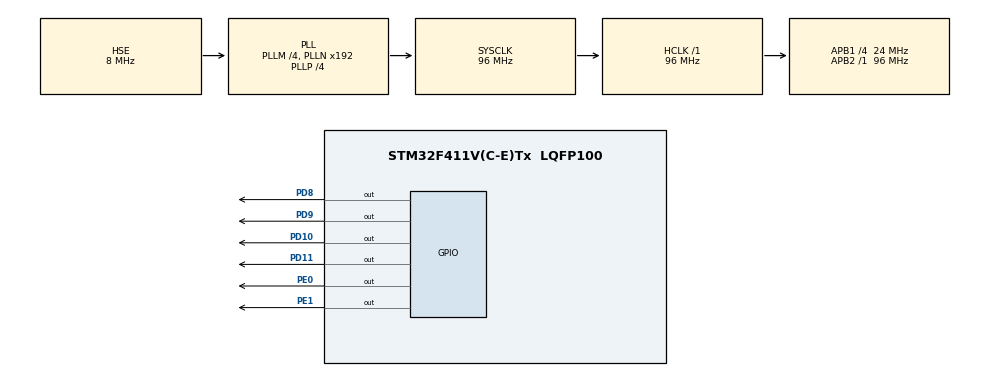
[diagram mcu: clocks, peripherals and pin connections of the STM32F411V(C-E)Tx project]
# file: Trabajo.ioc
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Mcu.Family=STM32F4
Mcu.Name=STM32F411V(C-E)Tx
Mcu.Package=LQFP100
NVIC.PriorityGroup=NVIC_PRIORITYGROUP_0
PD10.Signal=GPIO_Output
PD11.Signal=GPIO_Output
PD8.Signal=GPIO_Output
PD9.Signal=GPIO_Output
PE0.Signal=GPIO_Output
PE1.Signal=GPIO_Output
ProjectManager.HeapSize=0x200
ProjectManager.StackSize=0x400
ProjectManager.TargetToolchain=STM32CubeIDE
RCC.48MHZClocksFreq_Value=48000000
RCC.AHBFreq_Value=96000000
RCC.APB1CLKDivider=RCC_HCLK_DIV4
RCC.APB1Freq_Value=24000000
RCC.APB1TimFreq_Value=48000000
RCC.APB2Freq_Value=96000000
RCC.APB2TimFreq_Value=96000000
RCC.CortexFreq_Value=96000000
RCC.HCLKFreq_Value=96000000
RCC.HSE_VALUE=8000000
RCC.HSI_VALUE=16000000
RCC.LSE_VALUE=32768
RCC.PLLI2SM=5
RCC.PLLI2SN=200
RCC.PLLM=4
RCC.PLLP=RCC_PLLP_DIV4
RCC.PLLQ=8
RCC.PLLSourceVirtual=RCC_PLLSOURCE_HSE
RCC.SYSCLKFreq_VALUE=96000000
RCC.SYSCLKSource=RCC_SYSCLKSOURCE_PLLCLK
RCC.VCOOutputFreq_Value=384000000
board=STM32F411E-DISCO

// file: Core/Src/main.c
/* USER CODE BEGIN Header */
/**
  ******************************************************************************
  * @file           : main.c
  * @brief          : Main program body
  ******************************************************************************
  * @attention
  *
  * <h2><center>&copy; Copyright (c) 2021 STMicroelectronics.
  * All rights reserved.</center></h2>
  *
  * This software component is licensed by ST under Ultimate Liberty license
  * SLA0044, the "License"; You may not use this file except in compliance with
  * the License. You may obtain a copy of the License at:
  *                             www.st.com/SLA0044
  *
  ******************************************************************************
  */
/* USER CODE END Header */
#include "main.h"

/* USER CODE BEGIN Includes */
#include "STM_MY_LCD16X2.h"
/* USER CODE END Includes */

/* USER CODE BEGIN PD */
#define MAX_SELECT 4;
/* USER CODE END PD */

void SystemClock_Config(void);
static void MX_GPIO_Init(void);

int main(void)
{

  /* MCU Configuration--------------------------------------------------------*/

  /* Reset of all peripherals, Initializes the Flash interface and the Systick. */
  HAL_Init();

  /* Configure the system clock */
  SystemClock_Config();

  /* Initialize all configured peripherals */
  MX_GPIO_Init();
  /* USER CODE BEGIN 2 */

  //Inicializar LCD

  LCD1602_Begin4BIT(RS_DISPLAY_GPIO_Port, RS_DISPLAY_Pin, E_DISPLAY_Pin, D4_DISPLAY_GPIO_Port, D4_DISPLAY_Pin, D5_DISPLAY_Pin, D6_DISPLAY_Pin, D7_DISPLAY_Pin);
  LCD1602_clear();

  //Variables

  int mode=0;
  int selection=0;

  int enter=0;
  int back=0;
  int action=0;

  /* USER CODE END 2 */

  /* Infinite loop */
  while (1)
  {

    /* USER CODE BEGIN 3 */

	  if(mode==0) //Selection mode
	  {
		  if(selection==0)
		  {
			  LCD1602_1stLine();
			  LCD1602_print("SELECCIONE ");
			  LCD1602_2ndLine();
			  LCD1602_print("MODO -> ");
		  }
		  else if(selection==1)//Manual mode
		  {

			  LCD1602_1stLine();
			  LCD1602_print("MODO 1");
			  LCD1602_2ndLine();
			  LCD1602_print("<- MANUAL ->");
			  	  if(enter==1) //Press enter to manual mode on
			  	  {
			  		  LCD1602_clear();
			  		  enter=0;
			  		  mode=1;
			  	  }
		  }
		  else if(selection==2) //Light mode
		  {

			  LCD1602_1stLine();
			  LCD1602_print("MODO 2");
			  LCD1602_2ndLine();
			  LCD1602_print("<- DIA/NOCHE ->");
			  	  if(enter==1)
			  	  {
		  				LCD1602_clear();
		  				enter=0;
		  				mode=2;
		  			}
		  	}
		  	else if(selection==3) //Movement mode
		  	{
		  		LCD1602_1stLine();
		  		LCD1602_print("MODO 3");
		  		LCD1602_2ndLine();
		  		LCD1602_print("<- MOVIMIENTO ->");

		  		if(enter==1)
		  		{
		  			LCD1602_clear();
		  			enter=0;
		  			mode=3;
		  		}
		  	}
		  	else if(selection==4) //Brightness regulation
		  	{
		  		LCD1602_1stLine();
		  		LCD1602_print("MODO 4");
				LCD1602_2ndLine();
				LCD1602_print("<- PWM BRILLO");

				if(enter==1)
				{
		  			LCD1602_clear();
					enter=0;
					mode=4;
				}
		  	}
	  }
	  else if(mode==1) //Manual mode
	  {
	  		LCD1602_1stLine();
	  		LCD1602_print("MODO 1 ON");
	  		LCD1602_2ndLine();
	  		LCD1602_print("MANUAL");

	  		if(back==1) //Press back to selection mode on
	  		{
	  			LCD1602_clear();
	  			back=0;
	  			mode=0;
	  		}
	 }
	 else if(mode==2) //Light mode
	 {
		  LCD1602_1stLine();
		  LCD1602_print("MODO 2 ON");
		  LCD1602_2ndLine();
		  LCD1602_print("DIA/NOCHE");

		  //ADC

		  if(back==1)
		  {
			  LCD1602_clear();
			  back=0;
			  mode=0;
		  }
	  }

	  else if(mode==3) //Movement mode
	  {
	  		LCD1602_1stLine();
	  		LCD1602_print("MODO 3 ON");
	  		LCD1602_2ndLine();
	  		LCD1602_print("MOVIMIENTO");

	  		//Ultrasound

	  		if(back==1)
	  		{
	  			LCD1602_clear();
	  			back=0;
	  			modE=0;
	  		}
	  	}

	  	else if (mode==4) //Brightness regulation
	  	{
	  		LCD1602_1stLine();
	  		LCD1602_print("MODO 4 ON");
	  		LCD1602_2ndLine();
	  		LCD1602_print("BRILLO");

	  		//PWM

	  		if(back==1)
	  		{
	  			LCD1602_clear();
	  			back=0;
	  			mode=0;
	  		}
	  	}

  }
  /* USER CODE END 3 */
}

void SystemClock_Config(void)
{
  RCC_OscInitTypeDef RCC_OscInitStruct = {0};
  RCC_ClkInitTypeDef RCC_ClkInitStruct = {0};

  /** Configure the main internal regulator output voltage
  */
  __HAL_RCC_PWR_CLK_ENABLE();
  __HAL_PWR_VOLTAGESCALING_CONFIG(PWR_REGULATOR_VOLTAGE_SCALE1);
  /** Initializes the RCC Oscillators according to the specified parameters
  * in the RCC_OscInitTypeDef structure.
  */
  RCC_OscInitStruct.OscillatorType = RCC_OSCILLATORTYPE_HSE;
  RCC_OscInitStruct.HSEState = RCC_HSE_OFF;
  RCC_OscInitStruct.PLL.PLLState = RCC_PLL_ON;
  RCC_OscInitStruct.PLL.PLLSource = RCC_PLLSOURCE_HSE;
  RCC_OscInitStruct.PLL.PLLM = 4;
  RCC_OscInitStruct.PLL.PLLN = 192;
  RCC_OscInitStruct.PLL.PLLP = RCC_PLLP_DIV4;
  RCC_OscInitStruct.PLL.PLLQ = 8;
  if (HAL_RCC_OscConfig(&RCC_OscInitStruct) != HAL_OK)
  {
    Error_Handler();
  }
  /** Initializes the CPU, AHB and APB buses clocks
  */
  RCC_ClkInitStruct.ClockType = RCC_CLOCKTYPE_HCLK|RCC_CLOCKTYPE_SYSCLK
                              |RCC_CLOCKTYPE_PCLK1|RCC_CLOCKTYPE_PCLK2;
  RCC_ClkInitStruct.SYSCLKSource = RCC_SYSCLKSOURCE_PLLCLK;
  RCC_ClkInitStruct.AHBCLKDivider = RCC_SYSCLK_DIV1;
  RCC_ClkInitStruct.APB1CLKDivider = RCC_HCLK_DIV4;
  RCC_ClkInitStruct.APB2CLKDivider = RCC_HCLK_DIV1;

  if (HAL_RCC_ClockConfig(&RCC_ClkInitStruct, FLASH_LATENCY_3) != HAL_OK)
  {
    Error_Handler();
  }
}

static void MX_GPIO_Init(void)
{
  GPIO_InitTypeDef GPIO_InitStruct = {0};

  /* GPIO Ports Clock Enable */
  __HAL_RCC_GPIOD_CLK_ENABLE();
  __HAL_RCC_GPIOE_CLK_ENABLE();

  /*Configure GPIO pin Output Level */
  HAL_GPIO_WritePin(GPIOD, GPIO_PIN_8|GPIO_PIN_9|GPIO_PIN_10|GPIO_PIN_11, GPIO_PIN_RESET);

  /*Configure GPIO pin Output Level */
  HAL_GPIO_WritePin(GPIOE, GPIO_PIN_0|GPIO_PIN_1, GPIO_PIN_RESET);

  /*Configure GPIO pins : PD8 PD9 PD10 PD11 */
  GPIO_InitStruct.Pin = GPIO_PIN_8|GPIO_PIN_9|GPIO_PIN_10|GPIO_PIN_11;
  GPIO_InitStruct.Mode = GPIO_MODE_OUTPUT_PP;
  GPIO_InitStruct.Pull = GPIO_NOPULL;
  GPIO_InitStruct.Speed = GPIO_SPEED_FREQ_LOW;
  HAL_GPIO_Init(GPIOD, &GPIO_InitStruct);

  /*Configure GPIO pins : PE0 PE1 */
  GPIO_InitStruct.Pin = GPIO_PIN_0|GPIO_PIN_1;
  GPIO_InitStruct.Mode = GPIO_MODE_OUTPUT_PP;
  GPIO_InitStruct.Pull = GPIO_NOPULL;
  GPIO_InitStruct.Speed = GPIO_SPEED_FREQ_LOW;
  HAL_GPIO_Init(GPIOE, &GPIO_InitStruct);

}

void Error_Handler(void)
{
}

/************************ (C) COPYRIGHT STMicroelectronics *****END OF FILE****/
